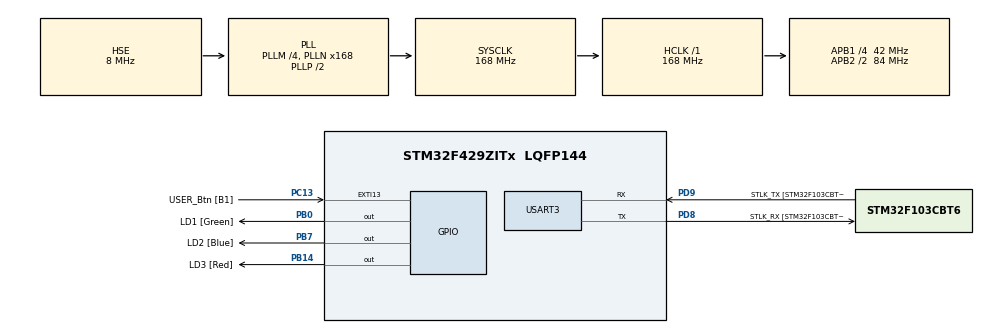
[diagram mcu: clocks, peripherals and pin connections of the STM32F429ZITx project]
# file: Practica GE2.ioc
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Mcu.Family=STM32F4
Mcu.Name=STM32F429ZITx
Mcu.Package=LQFP144
NVIC.PriorityGroup=NVIC_PRIORITYGROUP_4
PA13.GPIO_Label=TMS
PA13.Mode=Serial_Wire
PA13.Signal=SYS_JTMS-SWDIO
PA14.GPIO_Label=TCK
PA14.Mode=Serial_Wire
PA14.Signal=SYS_JTCK-SWCLK
PB0.GPIO_Label=LD1 [Green]
PB0.Signal=GPIO_Output
PB14.GPIO_Label=LD3 [Red]
PB14.Signal=GPIO_Output
PB7.GPIO_Label=LD2 [Blue]
PB7.Signal=GPIO_Output
PC13.GPIO_Label=USER_Btn [B1]
PC13.Signal=GPXTI13
PC14/OSC32_IN.Mode=LSE-External-Oscillator
PC14/OSC32_IN.Signal=RCC_OSC32_IN
PC15/OSC32_OUT.Mode=LSE-External-Oscillator
PC15/OSC32_OUT.Signal=RCC_OSC32_OUT
PD8.GPIO_Label=STLK_RX [STM32F103CBT6_PA3]
PD8.Mode=Asynchronous
PD8.Signal=USART3_TX
PD9.GPIO_Label=STLK_TX [STM32F103CBT6_PA2]
PD9.Mode=Asynchronous
PD9.Signal=USART3_RX
PH0/OSC_IN.GPIO_Label=MCO [STM32F103CBT6_PA8]
PH0/OSC_IN.Mode=HSE-External-Clock-Source
PH0/OSC_IN.Signal=RCC_OSC_IN
PH1/OSC_OUT.Mode=HSE-External-Clock-Source
PH1/OSC_OUT.Signal=RCC_OSC_OUT
ProjectManager.HeapSize=0x200
ProjectManager.StackSize=0x400
ProjectManager.TargetToolchain=STM32CubeIDE
RCC.48MHZClocksFreq_Value=48000000
RCC.AHBFreq_Value=168000000
RCC.APB1CLKDivider=RCC_HCLK_DIV4
RCC.APB1Freq_Value=42000000
RCC.APB1TimFreq_Value=84000000
RCC.APB2CLKDivider=RCC_HCLK_DIV2
RCC.APB2Freq_Value=84000000
RCC.APB2TimCLKDivider=2
RCC.APB2TimFreq_Value=168000000
RCC.CortexFreq_Value=168000000
RCC.HCLKFreq_Value=168000000
RCC.HSE_VALUE=8000000
RCC.HSI_VALUE=16000000
RCC.PLLM=4
RCC.PLLMUL=RCC_PLL_MUL9
RCC.PLLN=168
RCC.PLLQ=7
RCC.PLLSourceVirtual=RCC_PLLSOURCE_HSE
RCC.PRESCALERUSB=RCC_USBCLKSOURCE_PLL_DIV1_5
RCC.SYSCLKFreq_VALUE=168000000
RCC.SYSCLKSource=RCC_SYSCLKSOURCE_PLLCLK
RCC.SYSCLKSourceVirtual=RCC_SYSCLKSOURCE_PLLCLK
RCC.USBFreq_Value=48000000
RCC.VCOOutputFreq_Value=336000000
USART3.VirtualMode=VM_ASYNC
board=NUCLEO-F429ZI

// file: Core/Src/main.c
/* USER CODE BEGIN Header */
/**
  ******************************************************************************
  * @file           : main.c
  * @brief          : Main program body
  ******************************************************************************
  * @attention
  *
  * Copyright (c) 2024 STMicroelectronics.
  * All rights reserved.
  *
  * This software is licensed under terms that can be found in the LICENSE file
  * in the root directory of this software component.
  * If no LICENSE file comes with this software, it is provided AS-IS.
  *
  ******************************************************************************
  */
/* USER CODE END Header */
#include "main.h"

/* USER CODE BEGIN Includes */
#include "functions.h"
/* USER CODE END Includes */

UART_HandleTypeDef huart3;

void SystemClock_Config(void);
static void MX_GPIO_Init(void);
static void MX_USART3_UART_Init(void);

int main(void)
{

  /* USER CODE BEGIN 1 */
	DWT->CTRL |= 1 << DWT_CTRL_CYCCNTENA_Pos;
	/* ----------- Ejercicio 1 ----------- */

    int32_t vec32[] = {100000, -120000, 130000, 2000000, -2000000};
    uint32_t lon32 = sizeof(vec32)/sizeof(vec32[0]);
    int16_t vec16[lon32];
    int16_t asm_vec16[lon32];

    DWT->CYCCNT = 0;
    pack32to16(vec32, vec16, lon32);
    uint32_t Ciclos_C = DWT->CYCCNT;

    DWT->CYCCNT = 0;
    asm_pack32to16(vec32, asm_vec16, lon32);
    uint32_t Ciclos_asm = DWT->CYCCNT;

	/* ----------- Ejercicio 1 ----------- */

	/* ----------- Ejercicio 2 ----------- */

    int32_t vec32_2[] = {-5,-3,6,-10};
    uint32_t lon32_2 = sizeof(vec32_2)/sizeof(vec32_2[0]);

    uint32_t rta_2 = max(vec32_2, lon32_2);
	uint32_t asm_rta_2 = asm_max(vec32_2, lon32_2);

    /* ----------- Ejercicio 2 ----------- */

	/* ----------- Ejercicio 3 ----------- */

	int32_t vec32_3[] = {-1,-2,-3,-4,-5,-6,-7,-8,-9,-10,-11,-12};
	uint32_t lon32_3 = sizeof(vec32_3)/sizeof(vec32_3[0]);
	uint32_t N_3 = 3;
	uint32_t down_lon32_3 = lon32_3 -( lon32_3 / N_3 );
	int32_t down_vec32_3[down_lon32_3];
	int32_t asm_down_vec32_3[down_lon32_3];

	downSample(vec32_3, down_vec32_3, lon32_3, N_3);
	asm_downSample(vec32_3, asm_down_vec32_3, lon32_3, N_3);

	/* ----------- Ejercicio 3 ----------- */

	/* ----------- Ejercicio 4 ----------- */
	int16_t vec16_4[] = {1000,-2000,3000,-4000,5000,-6000,7000};
	uint32_t lon32_4 = sizeof(vec16_4)/sizeof(vec16_4[0]);

	invertir(vec16_4, lon32_4);
	asm_invertir(vec16_4, lon32_4);
	/* ----------- Ejercicio 4 ----------- */

  /* USER CODE END 1 */

  /* MCU Configuration--------------------------------------------------------*/

  /* Reset of all peripherals, Initializes the Flash interface and the Systick. */
  HAL_Init();

  /* Configure the system clock */
  SystemClock_Config();

  /* Initialize all configured peripherals */
  MX_GPIO_Init();
  MX_USART3_UART_Init();

  /* Infinite loop */
  while (1)
  {

  }
}

void SystemClock_Config(void)
{
  RCC_OscInitTypeDef RCC_OscInitStruct = {0};
  RCC_ClkInitTypeDef RCC_ClkInitStruct = {0};

  /** Configure the main internal regulator output voltage
  */
  __HAL_RCC_PWR_CLK_ENABLE();
  __HAL_PWR_VOLTAGESCALING_CONFIG(PWR_REGULATOR_VOLTAGE_SCALE1);

  /** Initializes the RCC Oscillators according to the specified parameters
  * in the RCC_OscInitTypeDef structure.
  */
  RCC_OscInitStruct.OscillatorType = RCC_OSCILLATORTYPE_HSE;
  RCC_OscInitStruct.HSEState = RCC_HSE_BYPASS;
  RCC_OscInitStruct.PLL.PLLState = RCC_PLL_ON;
  RCC_OscInitStruct.PLL.PLLSource = RCC_PLLSOURCE_HSE;
  RCC_OscInitStruct.PLL.PLLM = 4;
  RCC_OscInitStruct.PLL.PLLN = 168;
  RCC_OscInitStruct.PLL.PLLP = RCC_PLLP_DIV2;
  RCC_OscInitStruct.PLL.PLLQ = 7;
  if (HAL_RCC_OscConfig(&RCC_OscInitStruct) != HAL_OK)
  {
    Error_Handler();
  }

  /** Initializes the CPU, AHB and APB buses clocks
  */
  RCC_ClkInitStruct.ClockType = RCC_CLOCKTYPE_HCLK|RCC_CLOCKTYPE_SYSCLK
                              |RCC_CLOCKTYPE_PCLK1|RCC_CLOCKTYPE_PCLK2;
  RCC_ClkInitStruct.SYSCLKSource = RCC_SYSCLKSOURCE_PLLCLK;
  RCC_ClkInitStruct.AHBCLKDivider = RCC_SYSCLK_DIV1;
  RCC_ClkInitStruct.APB1CLKDivider = RCC_HCLK_DIV4;
  RCC_ClkInitStruct.APB2CLKDivider = RCC_HCLK_DIV2;

  if (HAL_RCC_ClockConfig(&RCC_ClkInitStruct, FLASH_LATENCY_5) != HAL_OK)
  {
    Error_Handler();
  }
}

static void MX_USART3_UART_Init(void)
{

  huart3.Instance = USART3;
  huart3.Init.BaudRate = 115200;
  huart3.Init.WordLength = UART_WORDLENGTH_8B;
  huart3.Init.StopBits = UART_STOPBITS_1;
  huart3.Init.Parity = UART_PARITY_NONE;
  huart3.Init.Mode = UART_MODE_TX_RX;
  huart3.Init.HwFlowCtl = UART_HWCONTROL_NONE;
  huart3.Init.OverSampling = UART_OVERSAMPLING_16;
  if (HAL_UART_Init(&huart3) != HAL_OK)
  {
    Error_Handler();
  }

}

static void MX_GPIO_Init(void)
{
  GPIO_InitTypeDef GPIO_InitStruct = {0};

  /* GPIO Ports Clock Enable */
  __HAL_RCC_GPIOC_CLK_ENABLE();
  __HAL_RCC_GPIOH_CLK_ENABLE();
  __HAL_RCC_GPIOB_CLK_ENABLE();
  __HAL_RCC_GPIOD_CLK_ENABLE();
  __HAL_RCC_GPIOA_CLK_ENABLE();

  /*Configure GPIO pin Output Level */
  HAL_GPIO_WritePin(GPIOB, LD1_Pin|LD3_Pin|LD2_Pin, GPIO_PIN_RESET);

  /*Configure GPIO pin : USER_Btn_Pin */
  GPIO_InitStruct.Pin = USER_Btn_Pin;
  GPIO_InitStruct.Mode = GPIO_MODE_IT_RISING;
  GPIO_InitStruct.Pull = GPIO_NOPULL;
  HAL_GPIO_Init(USER_Btn_GPIO_Port, &GPIO_InitStruct);

  /*Configure GPIO pins : LD1_Pin LD3_Pin LD2_Pin */
  GPIO_InitStruct.Pin = LD1_Pin|LD3_Pin|LD2_Pin;
  GPIO_InitStruct.Mode = GPIO_MODE_OUTPUT_PP;
  GPIO_InitStruct.Pull = GPIO_NOPULL;
  GPIO_InitStruct.Speed = GPIO_SPEED_FREQ_LOW;
  HAL_GPIO_Init(GPIOB, &GPIO_InitStruct);

}

void Error_Handler(void)
{
  __disable_irq();
  while (1)
  {
  }
}
